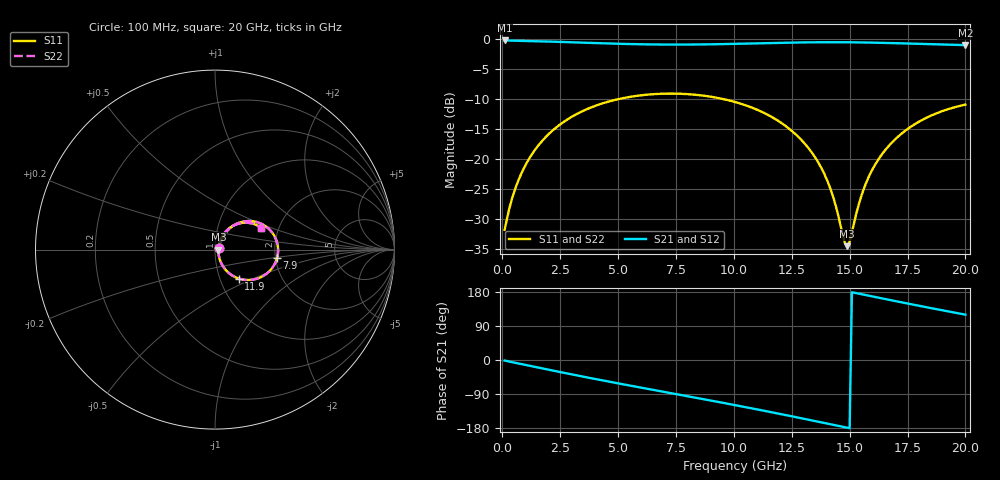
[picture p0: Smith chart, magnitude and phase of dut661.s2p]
! Touchstone file exported from HFSS 2026.1.0
!  File:  C:/ffzhzh/LocalFiles/Ansys_Project_Files/temp_train_TSV_RDL_661_1783130478_37876.aedt
!  Generated:  10:12:08 AM Jul  4, 2026
!  Design:  TSV_RDL
!  Project:  temp_train_TSV_RDL_661_1783130478_37876
! Variables:
!  h_bsmrdl = 2.86um
!  h_ox = 20um
!  h_rdl = 5um
!  h_sub = 68.31um
!  h_tmrdl = 4.42um
!  h_tsv = 68.31um
!  h_via = 3um
!  l_bsmrdl = 968.52um
!  l_sub = 4039.14um
!  l_tmrdl = 142.01um
!  m_sub = 200um
!  pitch = 41.09um
!  r_tsv = 2.4um
!  s_tmrdl = 10um
!  w_bsmrdl = 29.84um
!  w_sub = 500um
!  w_tmrdl = 25.34um
!  x_tsv_center1 = 154.68um
!  x_tsv_center2 = 1153.04um
!  x_tsv_center3 = 1320.39um
!  x_tsv_center4 = 2318.75um
!  x_tsv_center5 = 2486.1um
!  x_tsv_center6 = 3484.46um
# GHz S MA R 50.000000
! Terminal data exported
! Port[1] = TM_RDL1_1_T1
! Port[2] = TM_RDL5_1_T1
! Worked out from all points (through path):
!   200 points, 100 MHz to 20 GHz, reference 50 ohm
!   highest |S21| = -0.21 dB at 100 MHz (marker M1); lowest = -1.0 dB at 20 GHz (marker M2)
!   group delay of S21, straight-line fit = 33.1 ps
!   lowest |S11| = -34.6 dB at 14.9 GHz (marker M3), VSWR 1.04, Z = 51.9 + j0.0305 ohm
!   |S11| at or under -10 dB: start of sweep to 5.02 GHz; 9.548 GHz to end of sweep
!   |S22| runs from -34.3 to -9.1 dB; largest |S21 - S12| = 1.7e-14
!   S11 on the Smith chart (normalised r, x): 100 MHz: 1.05, +0.02; 7.9 GHz: 2.04, -0.22; 11.9 GHz: 1.23, -0.41; 20 GHz: 1.62, +0.43
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0.1  0.02559 22.1  0.9765 -1.4  0.9765 -1.4  0.02559 22.1
! Gamma 0 0 0 0
! Port Impedance 50 0 50 0
0.3  0.03834 43.3  0.9736 -4.1  0.9736 -4.1  0.03833 43.3
0.6  0.05936 53.8  0.9699 -8.0  0.9699 -8.0  0.05935 53.8
1.3  0.1108 57.6  0.9636 -16.8  0.9636 -16.8  0.1108 57.6
2.3  0.1813 50.9  0.9525 -29.4  0.9525 -29.4  0.1813 50.9
3.5  0.2526 39.0  0.9359 -44.0  0.9359 -44.0  0.2526 39.0
5.1  0.3187 22.1  0.9152 -62.8  0.9152 -62.8  0.3187 22.1
6.8  0.3499 4.0  0.9029 -82.1  0.9029 -82.1  0.3499 4.0
7.9  0.3488 -7.7  0.9021 -94.4  0.9021 -94.4  0.3488 -7.7
10.1  0.2973 -31.3  0.9152 -119.6  0.9152 -119.6  0.2972 -31.3
11.9  0.209 -50.6  0.9325 -141.2  0.9325 -141.2  0.209 -50.4
12.7  0.1587 -58.5  0.9389 -151.0  0.9389 -151.0  0.1587 -58.3
13.4  0.1109 -64.0  0.9427 -159.8  0.9427 -159.8  0.1109 -63.7
14.1  0.06131 -64.5  0.9443 -168.6  0.9443 -168.6  0.06145 -63.9
14.4  0.04072 -58.6  0.9443 -172.4  0.9443 -172.4  0.04096 -57.8
14.8  0.01976 -19.9  0.9435 -177.4  0.9435 -177.4  0.02032 -19.2
14.9  0.01869 0.9  0.9432 -178.7  0.9432 -178.7  0.0193 0.9
15.7  0.06221 60.9  0.9389 171.3  0.9389 171.3  0.06244 60.4
16.1  0.08948 61.5  0.9357 166.3  0.9357 166.3  0.08966 61.1
16.7  0.1292 58.1  0.9298 158.8  0.9298 158.8  0.1293 57.8
18.1  0.21 45.0  0.9134 141.8  0.9134 141.8  0.2101 44.8
20  0.2843 25.2  0.8927 119.6  0.8927 119.6  0.2844 25.1
